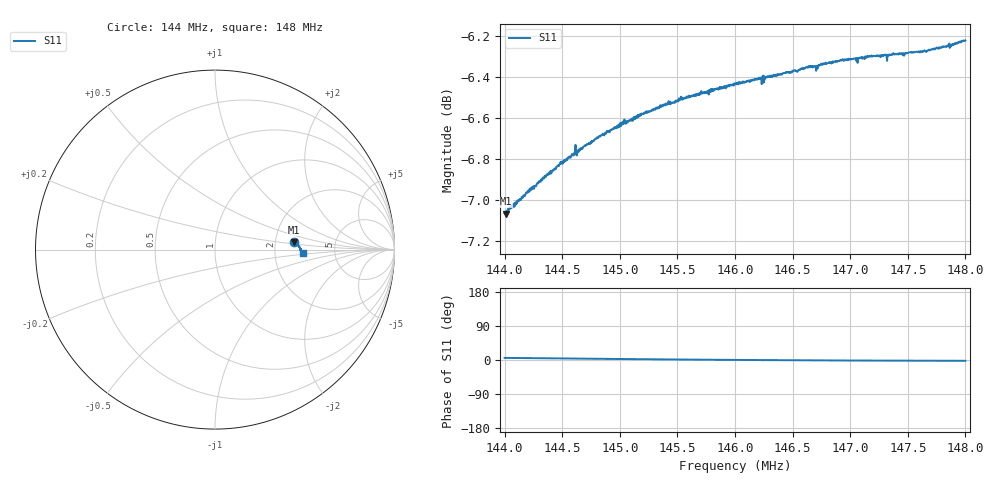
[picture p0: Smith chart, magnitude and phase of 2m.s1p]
! Calibrated averaged scanner-service zoom
# Hz S RI R 50
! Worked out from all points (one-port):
!   1001 points, 144 MHz to 148 MHz, reference 50 ohm
!   lowest |S11| = -7.1 dB at 144.01 MHz (marker M1), VSWR 2.59, Z = 128 + j13.5 ohm
!   |S11| at or under -10 dB: nowhere
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1.44e8  0.4414 0.0424
1.44008e8  0.4413 0.0422
1.44252e8  0.4486 0.0382
1.445e8  0.4554 0.0329
1.44588e8  0.4571 0.0311
1.44596e8  0.457 0.0308
1.4464e8  0.4584 0.0297
1.44808e8  0.4617 0.026
1.45e8  0.4658 0.0213
1.45212e8  0.4687 0.0166
1.455e8  0.4723 0.0108
1.46e8  0.4768 0.00183
1.46208e8  0.4782 -0.00125
1.46224e8  0.4783 -0.00155
1.46252e8  0.4772 -0.00237
1.4628e8  0.4787 -0.00218
1.465e8  0.4802 -0.0051
1.46636e8  0.4811 -0.0069
1.46696e8  0.4814 -0.00766
1.46768e8  0.4819 -0.00859
1.47e8  0.4833 -0.0118
1.47272e8  0.4843 -0.0147
1.475e8  0.4847 -0.016
1.47676e8  0.4854 -0.0172
1.4776e8  0.4861 -0.0177
1.4784e8  0.4865 -0.0176
1.47884e8  0.487 -0.0178
1.48e8  0.4881 -0.0181
